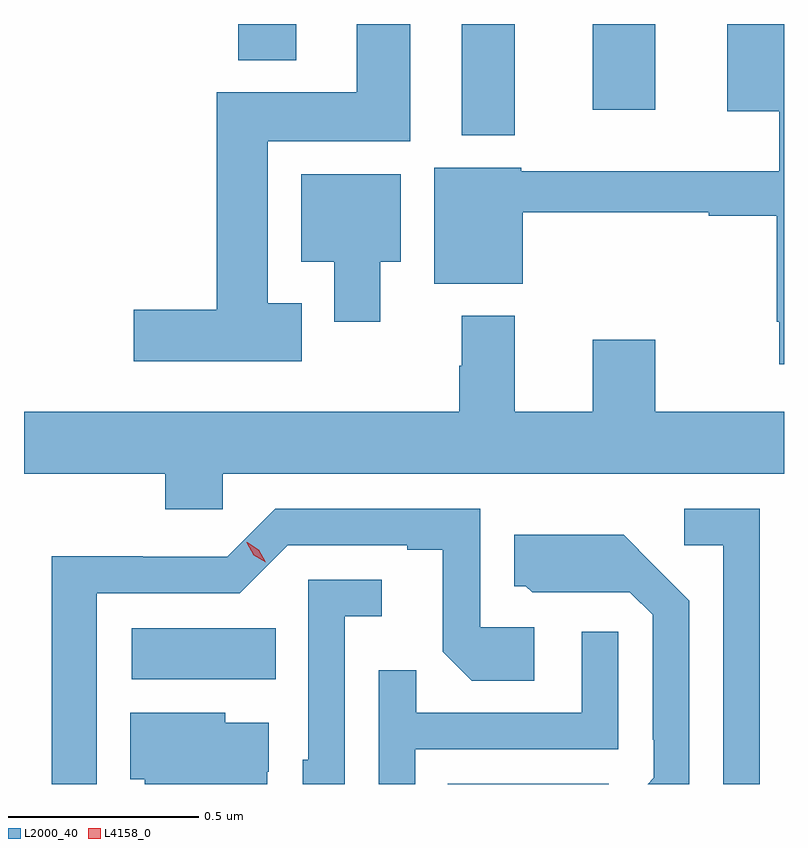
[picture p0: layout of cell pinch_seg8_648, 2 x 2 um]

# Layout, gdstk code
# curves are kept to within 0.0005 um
import gdstk
lib = gdstk.Library(unit=1e-6, precision=1e-09)
def R(c, l, rs):  # rectangles x0, y0, x1, y1
    for r in rs: c.add(gdstk.rectangle(r[:2], r[2:], *l))
def P(c, l, *ps):  # polygons
    for p in ps: c.add(gdstk.Polygon(p, *l))
L2000_40 = (2000, 40)
L4158_0 = (4158, 0)

pinch_seg8_648 = lib.new_cell('pinch_seg8_648')
R(pinch_seg8_648, L2000_40, [(200.59,1098.368,201.014,1098.369), (199.758,1098.644,200.138,1098.778), (200.627,1100.075,200.767,1100.368), (200.972,1100.142,201.136,1100.368), (200.039,1100.273,200.191,1100.368)])
P(pinch_seg8_648, L2000_40, [(200.206,1099.633),(200.116,1099.633),(200.116,1100.06),(200.491,1100.06),(200.491,1100.368),(200.351,1100.368),(200.351,1100.188),(199.982,1100.188),(199.982,1099.616),(199.764,1099.616),(199.764,1099.481),(200.206,1099.481)],
  [(201.475,1100.368),(201.326,1100.368),(201.326,1100.138),(201.463,1100.138),(201.463,1099.981),(200.784,1099.981),(200.784,1099.99),(200.555,1099.99),(200.555,1099.685),(200.788,1099.685),(200.788,1099.872),(201.277,1099.872),(201.277,1099.864),(201.456,1099.864),(201.456,1099.585),(201.463,1099.585),(201.463,1099.473),(201.475,1099.473)],
  [(200.413,1099.742),(200.467,1099.742),(200.467,1099.972),(200.204,1099.972),(200.204,1099.742),(200.291,1099.742),(200.291,1099.584),(200.413,1099.584)],
  [(199.998,1099.184),(201.475,1099.184),(201.475,1099.348),(201.136,1099.348),(201.136,1099.537),(200.972,1099.537),(200.972,1099.348),(200.767,1099.348),(200.767,1099.6),(200.627,1099.6),(200.627,1099.469),(200.62,1099.469),(200.62,1099.348),(199.475,1099.348),(199.475,1099.184),(199.847,1099.184),(199.847,1099.091),(199.998,1099.091)],
  [(199.666,1098.87),(200.043,1098.87),(200.169,1098.996),(200.483,1098.996),(200.483,1098.984),(200.577,1098.984),(200.577,1098.716),(200.653,1098.64),(200.818,1098.64),(200.818,1098.78),(200.676,1098.78),(200.676,1099.092),(200.136,1099.092),(200.01,1098.966),(199.788,1098.966),(199.788,1098.968),(199.548,1098.968),(199.548,1098.368),(199.666,1098.368)],
  [(201.411,1099.092),(201.213,1099.092),(201.213,1098.996),(201.315,1098.996),(201.315,1098.368),(201.411,1098.368)],
  [(201.225,1098.85),(201.053,1099.024),(200.765,1099.024),(200.765,1098.888),(200.796,1098.888),(200.812,1098.872),(200.946,1098.872),(200.946,1098.873),(201.069,1098.873),(201.129,1098.813),(201.129,1098.484),(201.132,1098.484),(201.132,1098.384),(201.116,1098.368),(201.225,1098.368)],
  [(200.319,1098.809),(200.416,1098.809),(200.416,1098.906),(200.223,1098.906),(200.223,1098.432),(200.208,1098.432),(200.208,1098.368),(200.319,1098.368)],
  [(200.505,1098.459),(201.039,1098.459),(201.039,1098.769),(200.943,1098.769),(200.943,1098.555),(200.507,1098.555),(200.507,1098.668),(200.409,1098.668),(200.409,1098.368),(200.505,1098.368)],
  [(200.115,1098.4),(200.119,1098.4),(200.119,1098.529),(200.004,1098.529),(200.004,1098.556),(199.754,1098.556),(199.754,1098.38),(199.793,1098.38),(199.793,1098.368),(200.115,1098.368)])
P(pinch_seg8_648, L4158_0, [(200.111,1098.951),(200.079,1098.97),(200.061,1099.003),(200.061,1099.004),(200.062,1099.004),(200.093,1098.984),(200.111,1098.952),(200.111,1098.951)])

lib.write_gds('pinch_seg8_648.gds')
